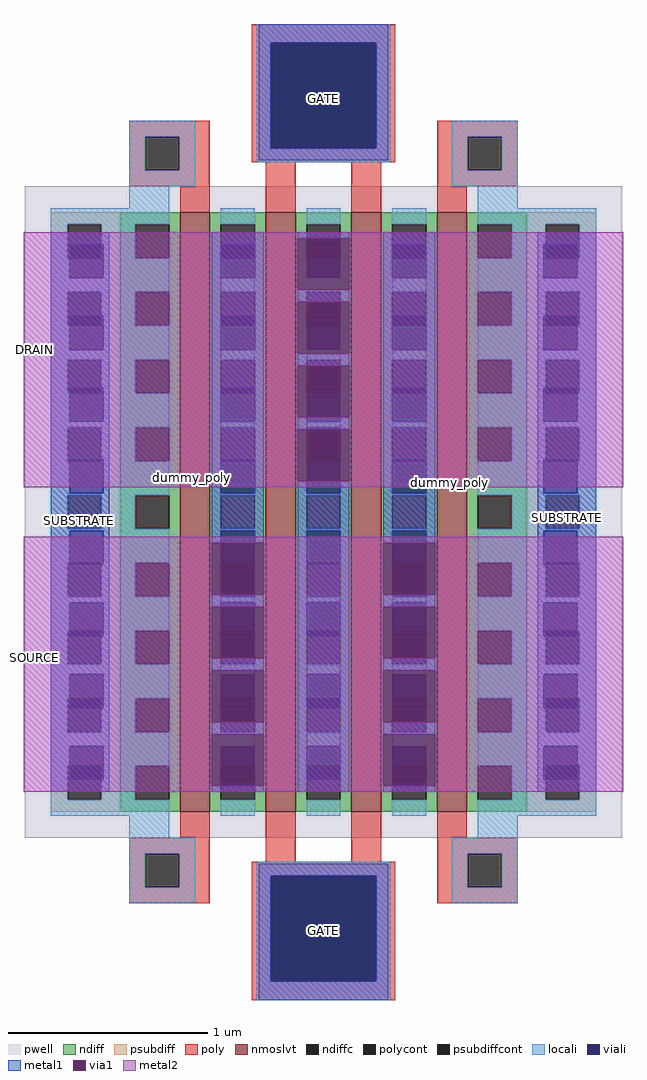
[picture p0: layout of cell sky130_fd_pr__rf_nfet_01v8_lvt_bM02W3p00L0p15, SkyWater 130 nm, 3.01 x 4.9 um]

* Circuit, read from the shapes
.subckt sky130_fd_pr__rf_nfet_01v8_lvt_bM02W3p00L0p15 DRAIN GATE SOURCE SUBSTRATE
XM1 SOURCE SUBSTRATE SUBSTRATE SUBSTRATE sky130_fd_pr__nfet_01v8_lvt w=3.01 l=0.15 m=2
XM2 DRAIN GATE SOURCE SUBSTRATE sky130_fd_pr__nfet_01v8_lvt w=3.01 l=0.15 m=2
.ends

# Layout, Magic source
magic
tech sky130A
magscale 1 2
<< pwell >>
rect 15 163 615 817
<< nmoslvt >>
rect 171 189 201 791
rect 257 189 287 791
rect 343 189 373 791
rect 429 189 459 791
<< ndiff >>
rect 111 779 171 791
rect 111 745 126 779
rect 160 745 171 779
rect 111 711 171 745
rect 111 677 126 711
rect 160 677 171 711
rect 111 643 171 677
rect 111 609 126 643
rect 160 609 171 643
rect 111 575 171 609
rect 111 541 126 575
rect 160 541 171 575
rect 111 507 171 541
rect 111 473 126 507
rect 160 473 171 507
rect 111 439 171 473
rect 111 405 126 439
rect 160 405 171 439
rect 111 371 171 405
rect 111 337 126 371
rect 160 337 171 371
rect 111 303 171 337
rect 111 269 126 303
rect 160 269 171 303
rect 111 235 171 269
rect 111 201 126 235
rect 160 201 171 235
rect 111 189 171 201
rect 201 779 257 791
rect 201 745 212 779
rect 246 745 257 779
rect 201 711 257 745
rect 201 677 212 711
rect 246 677 257 711
rect 201 643 257 677
rect 201 609 212 643
rect 246 609 257 643
rect 201 575 257 609
rect 201 541 212 575
rect 246 541 257 575
rect 201 507 257 541
rect 201 473 212 507
rect 246 473 257 507
rect 201 439 257 473
rect 201 405 212 439
rect 246 405 257 439
rect 201 371 257 405
rect 201 337 212 371
rect 246 337 257 371
rect 201 303 257 337
rect 201 269 212 303
rect 246 269 257 303
rect 201 235 257 269
rect 201 201 212 235
rect 246 201 257 235
rect 201 189 257 201
rect 287 779 343 791
rect 287 745 298 779
rect 332 745 343 779
rect 287 711 343 745
rect 287 677 298 711
rect 332 677 343 711
rect 287 643 343 677
rect 287 609 298 643
rect 332 609 343 643
rect 287 575 343 609
rect 287 541 298 575
rect 332 541 343 575
rect 287 507 343 541
rect 287 473 298 507
rect 332 473 343 507
rect 287 439 343 473
rect 287 405 298 439
rect 332 405 343 439
rect 287 371 343 405
rect 287 337 298 371
rect 332 337 343 371
rect 287 303 343 337
rect 287 269 298 303
rect 332 269 343 303
rect 287 235 343 269
rect 287 201 298 235
rect 332 201 343 235
rect 287 189 343 201
rect 373 779 429 791
rect 373 745 384 779
rect 418 745 429 779
rect 373 711 429 745
rect 373 677 384 711
rect 418 677 429 711
rect 373 643 429 677
rect 373 609 384 643
rect 418 609 429 643
rect 373 575 429 609
rect 373 541 384 575
rect 418 541 429 575
rect 373 507 429 541
rect 373 473 384 507
rect 418 473 429 507
rect 373 439 429 473
rect 373 405 384 439
rect 418 405 429 439
rect 373 371 429 405
rect 373 337 384 371
rect 418 337 429 371
rect 373 303 429 337
rect 373 269 384 303
rect 418 269 429 303
rect 373 235 429 269
rect 373 201 384 235
rect 418 201 429 235
rect 373 189 429 201
rect 459 779 519 791
rect 459 745 470 779
rect 504 745 519 779
rect 459 711 519 745
rect 459 677 470 711
rect 504 677 519 711
rect 459 643 519 677
rect 459 609 470 643
rect 504 609 519 643
rect 459 575 519 609
rect 459 541 470 575
rect 504 541 519 575
rect 459 507 519 541
rect 459 473 470 507
rect 504 473 519 507
rect 459 439 519 473
rect 459 405 470 439
rect 504 405 519 439
rect 459 371 519 405
rect 459 337 470 371
rect 504 337 519 371
rect 459 303 519 337
rect 459 269 470 303
rect 504 269 519 303
rect 459 235 519 269
rect 459 201 470 235
rect 504 201 519 235
rect 459 189 519 201
<< ndiffc >>
rect 126 745 160 779
rect 126 677 160 711
rect 126 609 160 643
rect 126 541 160 575
rect 126 473 160 507
rect 126 405 160 439
rect 126 337 160 371
rect 126 269 160 303
rect 126 201 160 235
rect 212 745 246 779
rect 212 677 246 711
rect 212 609 246 643
rect 212 541 246 575
rect 212 473 246 507
rect 212 405 246 439
rect 212 337 246 371
rect 212 269 246 303
rect 212 201 246 235
rect 298 745 332 779
rect 298 677 332 711
rect 298 609 332 643
rect 298 541 332 575
rect 298 473 332 507
rect 298 405 332 439
rect 298 337 332 371
rect 298 269 332 303
rect 298 201 332 235
rect 384 745 418 779
rect 384 677 418 711
rect 384 609 418 643
rect 384 541 418 575
rect 384 473 418 507
rect 384 405 418 439
rect 384 337 418 371
rect 384 269 418 303
rect 384 201 418 235
rect 470 745 504 779
rect 470 677 504 711
rect 470 609 504 643
rect 470 541 504 575
rect 470 473 504 507
rect 470 405 504 439
rect 470 337 504 371
rect 470 269 504 303
rect 470 201 504 235
<< psubdiff >>
rect 41 779 111 791
rect 41 745 58 779
rect 92 745 111 779
rect 41 711 111 745
rect 41 677 58 711
rect 92 677 111 711
rect 41 643 111 677
rect 41 609 58 643
rect 92 609 111 643
rect 41 575 111 609
rect 41 541 58 575
rect 92 541 111 575
rect 41 507 111 541
rect 41 473 58 507
rect 92 473 111 507
rect 41 439 111 473
rect 41 405 58 439
rect 92 405 111 439
rect 41 371 111 405
rect 41 337 58 371
rect 92 337 111 371
rect 41 303 111 337
rect 41 269 58 303
rect 92 269 111 303
rect 41 235 111 269
rect 41 201 58 235
rect 92 201 111 235
rect 41 189 111 201
rect 519 779 589 791
rect 519 745 538 779
rect 572 745 589 779
rect 519 711 589 745
rect 519 677 538 711
rect 572 677 589 711
rect 519 643 589 677
rect 519 609 538 643
rect 572 609 589 643
rect 519 575 589 609
rect 519 541 538 575
rect 572 541 589 575
rect 519 507 589 541
rect 519 473 538 507
rect 572 473 589 507
rect 519 439 589 473
rect 519 405 538 439
rect 572 405 589 439
rect 519 371 589 405
rect 519 337 538 371
rect 572 337 589 371
rect 519 303 589 337
rect 519 269 538 303
rect 572 269 589 303
rect 519 235 589 269
rect 519 201 538 235
rect 572 201 589 235
rect 519 189 589 201
<< psubdiffcont >>
rect 58 745 92 779
rect 58 677 92 711
rect 58 609 92 643
rect 58 541 92 575
rect 58 473 92 507
rect 58 405 92 439
rect 58 337 92 371
rect 58 269 92 303
rect 58 201 92 235
rect 538 745 572 779
rect 538 677 572 711
rect 538 609 572 643
rect 538 541 572 575
rect 538 473 572 507
rect 538 405 572 439
rect 538 337 572 371
rect 538 269 572 303
rect 538 201 572 235
<< poly >>
rect 243 959 387 980
rect 120 867 201 883
rect 120 833 136 867
rect 170 833 201 867
rect 243 857 264 959
rect 366 857 387 959
rect 243 841 387 857
rect 429 867 510 883
rect 120 817 201 833
rect 171 791 201 817
rect 257 791 287 841
rect 343 791 373 841
rect 429 833 460 867
rect 494 833 510 867
rect 429 817 510 833
rect 429 791 459 817
rect 171 163 201 189
rect 120 147 201 163
rect 120 113 136 147
rect 170 113 201 147
rect 257 139 287 189
rect 343 139 373 189
rect 429 163 459 189
rect 429 147 510 163
rect 120 97 201 113
rect 243 123 387 139
rect 243 21 264 123
rect 366 21 387 123
rect 429 113 460 147
rect 494 113 510 147
rect 429 97 510 113
rect 243 0 387 21
<< polycont >>
rect 136 833 170 867
rect 264 857 366 959
rect 460 833 494 867
rect 136 113 170 147
rect 264 21 366 123
rect 460 113 494 147
<< locali >>
rect 248 961 382 980
rect 120 867 186 883
rect 120 833 136 867
rect 170 833 186 867
rect 248 855 262 961
rect 368 855 382 961
rect 248 841 382 855
rect 444 867 510 883
rect 120 817 186 833
rect 444 833 460 867
rect 494 833 510 867
rect 444 817 510 833
rect 120 795 160 817
rect 470 795 510 817
rect 41 779 160 795
rect 41 745 58 779
rect 92 759 126 779
rect 94 745 126 759
rect 41 725 60 745
rect 94 725 160 745
rect 41 711 160 725
rect 41 677 58 711
rect 92 687 126 711
rect 94 677 126 687
rect 41 653 60 677
rect 94 653 160 677
rect 41 643 160 653
rect 41 609 58 643
rect 92 615 126 643
rect 94 609 126 615
rect 41 581 60 609
rect 94 581 160 609
rect 41 575 160 581
rect 41 541 58 575
rect 92 543 126 575
rect 94 541 126 543
rect 41 509 60 541
rect 94 509 160 541
rect 41 507 160 509
rect 41 473 58 507
rect 92 473 126 507
rect 41 471 160 473
rect 41 439 60 471
rect 94 439 160 471
rect 41 405 58 439
rect 94 437 126 439
rect 92 405 126 437
rect 41 399 160 405
rect 41 371 60 399
rect 94 371 160 399
rect 41 337 58 371
rect 94 365 126 371
rect 92 337 126 365
rect 41 327 160 337
rect 41 303 60 327
rect 94 303 160 327
rect 41 269 58 303
rect 94 293 126 303
rect 92 269 126 293
rect 41 255 160 269
rect 41 235 60 255
rect 94 235 160 255
rect 41 201 58 235
rect 94 221 126 235
rect 92 201 126 221
rect 41 185 160 201
rect 212 779 246 795
rect 212 711 246 725
rect 212 643 246 653
rect 212 575 246 581
rect 212 507 246 509
rect 212 471 246 473
rect 212 399 246 405
rect 212 327 246 337
rect 212 255 246 269
rect 212 185 246 201
rect 298 779 332 795
rect 298 711 332 725
rect 298 643 332 653
rect 298 575 332 581
rect 298 507 332 509
rect 298 471 332 473
rect 298 399 332 405
rect 298 327 332 337
rect 298 255 332 269
rect 298 185 332 201
rect 384 779 418 795
rect 384 711 418 725
rect 384 643 418 653
rect 384 575 418 581
rect 384 507 418 509
rect 384 471 418 473
rect 384 399 418 405
rect 384 327 418 337
rect 384 255 418 269
rect 384 185 418 201
rect 470 779 589 795
rect 504 759 538 779
rect 504 745 536 759
rect 572 745 589 779
rect 470 725 536 745
rect 570 725 589 745
rect 470 711 589 725
rect 504 687 538 711
rect 504 677 536 687
rect 572 677 589 711
rect 470 653 536 677
rect 570 653 589 677
rect 470 643 589 653
rect 504 615 538 643
rect 504 609 536 615
rect 572 609 589 643
rect 470 581 536 609
rect 570 581 589 609
rect 470 575 589 581
rect 504 543 538 575
rect 504 541 536 543
rect 572 541 589 575
rect 470 509 536 541
rect 570 509 589 541
rect 470 507 589 509
rect 504 473 538 507
rect 572 473 589 507
rect 470 471 589 473
rect 470 439 536 471
rect 570 439 589 471
rect 504 437 536 439
rect 504 405 538 437
rect 572 405 589 439
rect 470 399 589 405
rect 470 371 536 399
rect 570 371 589 399
rect 504 365 536 371
rect 504 337 538 365
rect 572 337 589 371
rect 470 327 589 337
rect 470 303 536 327
rect 570 303 589 327
rect 504 293 536 303
rect 504 269 538 293
rect 572 269 589 303
rect 470 255 589 269
rect 470 235 536 255
rect 570 235 589 255
rect 504 221 536 235
rect 504 201 538 221
rect 572 201 589 235
rect 470 185 589 201
rect 120 163 160 185
rect 470 163 510 185
rect 120 147 186 163
rect 120 113 136 147
rect 170 113 186 147
rect 444 147 510 163
rect 120 97 186 113
rect 248 125 382 139
rect 248 19 262 125
rect 368 19 382 125
rect 444 113 460 147
rect 494 113 510 147
rect 444 97 510 113
rect 248 0 382 19
<< viali >>
rect 262 959 368 961
rect 262 857 264 959
rect 264 857 366 959
rect 366 857 368 959
rect 262 855 368 857
rect 60 745 92 759
rect 92 745 94 759
rect 60 725 94 745
rect 60 677 92 687
rect 92 677 94 687
rect 60 653 94 677
rect 60 609 92 615
rect 92 609 94 615
rect 60 581 94 609
rect 60 541 92 543
rect 92 541 94 543
rect 60 509 94 541
rect 60 439 94 471
rect 60 437 92 439
rect 92 437 94 439
rect 60 371 94 399
rect 60 365 92 371
rect 92 365 94 371
rect 60 303 94 327
rect 60 293 92 303
rect 92 293 94 303
rect 60 235 94 255
rect 60 221 92 235
rect 92 221 94 235
rect 212 745 246 759
rect 212 725 246 745
rect 212 677 246 687
rect 212 653 246 677
rect 212 609 246 615
rect 212 581 246 609
rect 212 541 246 543
rect 212 509 246 541
rect 212 439 246 471
rect 212 437 246 439
rect 212 371 246 399
rect 212 365 246 371
rect 212 303 246 327
rect 212 293 246 303
rect 212 235 246 255
rect 212 221 246 235
rect 298 745 332 759
rect 298 725 332 745
rect 298 677 332 687
rect 298 653 332 677
rect 298 609 332 615
rect 298 581 332 609
rect 298 541 332 543
rect 298 509 332 541
rect 298 439 332 471
rect 298 437 332 439
rect 298 371 332 399
rect 298 365 332 371
rect 298 303 332 327
rect 298 293 332 303
rect 298 235 332 255
rect 298 221 332 235
rect 384 745 418 759
rect 384 725 418 745
rect 384 677 418 687
rect 384 653 418 677
rect 384 609 418 615
rect 384 581 418 609
rect 384 541 418 543
rect 384 509 418 541
rect 384 439 418 471
rect 384 437 418 439
rect 384 371 418 399
rect 384 365 418 371
rect 384 303 418 327
rect 384 293 418 303
rect 384 235 418 255
rect 384 221 418 235
rect 536 745 538 759
rect 538 745 570 759
rect 536 725 570 745
rect 536 677 538 687
rect 538 677 570 687
rect 536 653 570 677
rect 536 609 538 615
rect 538 609 570 615
rect 536 581 570 609
rect 536 541 538 543
rect 538 541 570 543
rect 536 509 570 541
rect 536 439 570 471
rect 536 437 538 439
rect 538 437 570 439
rect 536 371 570 399
rect 536 365 538 371
rect 538 365 570 371
rect 536 303 570 327
rect 536 293 538 303
rect 538 293 570 303
rect 536 235 570 255
rect 536 221 538 235
rect 538 221 570 235
rect 262 123 368 125
rect 262 21 264 123
rect 264 21 366 123
rect 366 21 368 123
rect 262 19 368 21
<< metal1 >>
rect 250 961 380 980
rect 250 855 262 961
rect 368 855 380 961
rect 250 843 380 855
rect 41 759 100 771
rect 41 725 60 759
rect 94 725 100 759
rect 41 687 100 725
rect 41 653 60 687
rect 94 653 100 687
rect 41 615 100 653
rect 41 581 60 615
rect 94 581 100 615
rect 41 543 100 581
rect 41 509 60 543
rect 94 509 100 543
rect 41 471 100 509
rect 41 437 60 471
rect 94 437 100 471
rect 41 399 100 437
rect 41 365 60 399
rect 94 365 100 399
rect 41 327 100 365
rect 41 293 60 327
rect 94 293 100 327
rect 41 255 100 293
rect 41 221 60 255
rect 94 221 100 255
rect 41 209 100 221
rect 203 759 255 771
rect 203 725 212 759
rect 246 725 255 759
rect 203 687 255 725
rect 203 653 212 687
rect 246 653 255 687
rect 203 615 255 653
rect 203 581 212 615
rect 246 581 255 615
rect 203 543 255 581
rect 203 509 212 543
rect 246 509 255 543
rect 203 471 255 509
rect 203 459 212 471
rect 246 459 255 471
rect 203 399 255 407
rect 203 395 212 399
rect 246 395 255 399
rect 203 331 255 343
rect 203 267 255 279
rect 203 209 255 215
rect 289 765 341 771
rect 289 701 341 713
rect 289 637 341 649
rect 289 581 298 585
rect 332 581 341 585
rect 289 573 341 581
rect 289 509 298 521
rect 332 509 341 521
rect 289 471 341 509
rect 289 437 298 471
rect 332 437 341 471
rect 289 399 341 437
rect 289 365 298 399
rect 332 365 341 399
rect 289 327 341 365
rect 289 293 298 327
rect 332 293 341 327
rect 289 255 341 293
rect 289 221 298 255
rect 332 221 341 255
rect 289 209 341 221
rect 375 759 427 771
rect 375 725 384 759
rect 418 725 427 759
rect 375 687 427 725
rect 375 653 384 687
rect 418 653 427 687
rect 375 615 427 653
rect 375 581 384 615
rect 418 581 427 615
rect 375 543 427 581
rect 375 509 384 543
rect 418 509 427 543
rect 375 471 427 509
rect 375 459 384 471
rect 418 459 427 471
rect 375 399 427 407
rect 375 395 384 399
rect 418 395 427 399
rect 375 331 427 343
rect 375 267 427 279
rect 375 209 427 215
rect 530 759 589 771
rect 530 725 536 759
rect 570 725 589 759
rect 530 687 589 725
rect 530 653 536 687
rect 570 653 589 687
rect 530 615 589 653
rect 530 581 536 615
rect 570 581 589 615
rect 530 543 589 581
rect 530 509 536 543
rect 570 509 589 543
rect 530 471 589 509
rect 530 437 536 471
rect 570 437 589 471
rect 530 399 589 437
rect 530 365 536 399
rect 570 365 589 399
rect 530 327 589 365
rect 530 293 536 327
rect 570 293 589 327
rect 530 255 589 293
rect 530 221 536 255
rect 570 221 589 255
rect 530 209 589 221
rect 250 125 380 137
rect 250 19 262 125
rect 368 19 380 125
rect 250 0 380 19
<< via1 >>
rect 203 437 212 459
rect 212 437 246 459
rect 246 437 255 459
rect 203 407 255 437
rect 203 365 212 395
rect 212 365 246 395
rect 246 365 255 395
rect 203 343 255 365
rect 203 327 255 331
rect 203 293 212 327
rect 212 293 246 327
rect 246 293 255 327
rect 203 279 255 293
rect 203 255 255 267
rect 203 221 212 255
rect 212 221 246 255
rect 246 221 255 255
rect 203 215 255 221
rect 289 759 341 765
rect 289 725 298 759
rect 298 725 332 759
rect 332 725 341 759
rect 289 713 341 725
rect 289 687 341 701
rect 289 653 298 687
rect 298 653 332 687
rect 332 653 341 687
rect 289 649 341 653
rect 289 615 341 637
rect 289 585 298 615
rect 298 585 332 615
rect 332 585 341 615
rect 289 543 341 573
rect 289 521 298 543
rect 298 521 332 543
rect 332 521 341 543
rect 375 437 384 459
rect 384 437 418 459
rect 418 437 427 459
rect 375 407 427 437
rect 375 365 384 395
rect 384 365 418 395
rect 418 365 427 395
rect 375 343 427 365
rect 375 327 427 331
rect 375 293 384 327
rect 384 293 418 327
rect 418 293 427 327
rect 375 279 427 293
rect 375 255 427 267
rect 375 221 384 255
rect 384 221 418 255
rect 418 221 427 255
rect 375 215 427 221
<< metal2 >>
rect 14 765 616 771
rect 14 713 289 765
rect 341 713 616 765
rect 14 701 616 713
rect 14 649 289 701
rect 341 649 616 701
rect 14 637 616 649
rect 14 585 289 637
rect 341 585 616 637
rect 14 573 616 585
rect 14 521 289 573
rect 341 521 616 573
rect 14 515 616 521
rect 14 459 616 465
rect 14 407 203 459
rect 255 407 375 459
rect 427 407 616 459
rect 14 395 616 407
rect 14 343 203 395
rect 255 343 375 395
rect 427 343 616 395
rect 14 331 616 343
rect 14 279 203 331
rect 255 279 375 331
rect 427 279 616 331
rect 14 267 616 279
rect 14 215 203 267
rect 255 215 375 267
rect 427 215 616 267
rect 14 209 616 215
<< labels >>
flabel comment s 182 525 182 525 0 FreeSans 180 90 0 0 dummy_poly
flabel comment s 442 520 442 520 0 FreeSans 180 90 0 0 dummy_poly
flabel metal1 s 255 44 374 95 0 FreeSans 200 0 0 0 GATE
port 2 nsew
flabel metal1 s 255 880 374 931 0 FreeSans 200 0 0 0 GATE
port 2 nsew
flabel metal1 s 41 466 100 496 0 FreeSans 200 90 0 0 SUBSTRATE
port 4 nsew
flabel metal1 s 530 469 589 499 0 FreeSans 200 90 0 0 SUBSTRATE
port 4 nsew
flabel metal2 s 14 280 35 408 7 FreeSans 300 180 0 0 SOURCE
port 3 nsew
flabel metal2 s 14 589 35 717 7 FreeSans 300 180 0 0 DRAIN
port 1 nsew
<< properties >>
string GDS_FILE $PDKPATH/libs.ref/sky130_fd_pr/gds/sky130_fd_pr.gds
string GDS_END 6232814
string GDS_START 6218222
<< end >>
